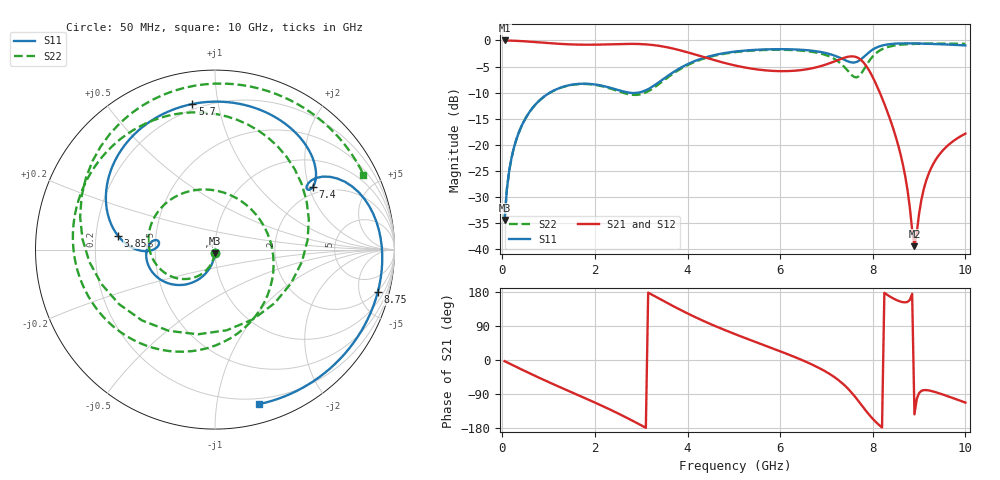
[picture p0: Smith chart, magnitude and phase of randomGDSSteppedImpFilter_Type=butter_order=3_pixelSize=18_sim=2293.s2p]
! freq	dB(S11)	phase(S11)	dB(S12)	phase(S12)
!  dB(S21)	phase(S21)	dB(S22)	phase(S22)
!S-par simulation data
#  GHz  S  DB  R 50
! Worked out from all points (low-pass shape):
!   200 points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, 50 MHz to 10 GHz, reference 50 ohm
!   highest |S21| = -0.01 dB at 50 MHz (marker M1); lowest = -39.4 dB at 8.9 GHz (marker M2)
!   |S21| within 3 dB of the highest: start of sweep to 4.279 GHz
!   lowest |S11| = -34.4 dB at 50 MHz (marker M3), VSWR 1.04, Z = 49.9 - j1.91 ohm
!   |S11| at or under -10 dB: start of sweep to 1.029 GHz; 2.735 GHz to 2.935 GHz (200.3 MHz wide, 7.07 % of centre)
!   |S22| runs from -34.4 to -0.6 dB; largest |S21 - S12| = 0
!   S11 on the Smith chart (normalised r, x): 50 MHz: 1.00, -0.04; 3.85 GHz: 0.29, +0.07; 5.7 GHz: 0.17, +0.84; 7.4 GHz: 1.77, +2.13; 8.75 GHz: 1.89, -7.33; 10 GHz: 0.15, -1.32
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0.05  -34.37 -92.4  -0.01 -3.1  -0.01 -3.1  -34.38 -93.0
0.2  -22.47 -101.1  -0.04 -12.1  -0.04 -12.1  -22.48 -103.6
0.5  -14.94 -117.2  -0.18 -29.9  -0.18 -29.9  -14.96 -123.5
1.1  -9.65 -146.3  -0.58 -63.8  -0.58 -63.8  -9.67 -162.1
1.75  -8.29 -172.5  -0.82 -98.7  -0.82 -98.7  -8.34 154.3
2.6  -9.75 170.9  -0.68 -147.0  -0.68 -147.0  -10.00 74.9
3.4  -7.89 -178.9  -1.06 161.2  -1.06 161.2  -8.24 -40.8
3.85  -5.24 171.8  -1.92 132.1  -1.92 132.1  -5.45 -89.6
4.35  -3.35 153.3  -3.20 102.8  -3.20 102.8  -3.49 -129.1
5.05  -2.12 125.0  -4.85 67.1  -4.85 67.1  -2.22 -171.1
5.7  -1.71 98.8  -5.75 36.9  -5.75 36.9  -1.82 155.7
6.7  -1.98 57.5  -5.32 -12.6  -5.32 -12.6  -2.21 99.9
7.1  -2.69 41.0  -4.27 -39.3  -4.27 -39.3  -3.21 64.9
7.4  -3.77 32.6  -3.28 -67.9  -3.28 -67.9  -5.21 17.7
7.6  -4.24 33.8  -3.09 -94.4  -3.09 -94.4  -7.00 -41.9
7.8  -3.20 35.3  -4.21 -125.8  -4.21 -125.8  -5.67 -119.5
8.05  -1.50 24.7  -7.97 -161.6  -7.97 -161.6  -2.61 175.4
8.35  -0.73 6.9  -14.51 168.9  -14.51 168.9  -1.20 132.2
8.75  -0.56 -14.6  -28.64 153.4  -28.64 153.4  -0.72 97.1
8.9  -0.58 -22.1  -39.41 -143.4  -39.41 -143.4  -0.66 86.8
9.25  -0.66 -38.9  -24.64 -81.4  -24.64 -81.4  -0.61 65.7
10  -0.96 -74.0  -17.85 -112.4  -17.85 -112.4  -0.66 26.8
